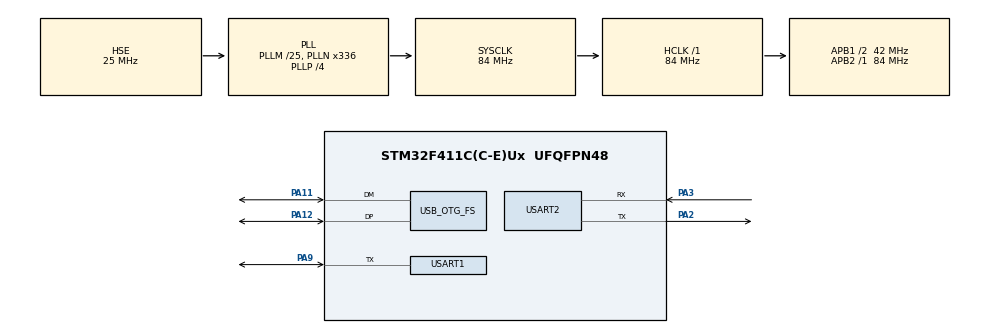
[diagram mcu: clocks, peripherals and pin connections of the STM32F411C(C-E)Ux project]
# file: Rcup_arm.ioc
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Mcu.Family=STM32F4
Mcu.Name=STM32F411C(C-E)Ux
Mcu.Package=UFQFPN48
NVIC.OTG_FS_IRQn=true\:0\:0\:false\:false\:true\:false\:true\:true
NVIC.PriorityGroup=NVIC_PRIORITYGROUP_4
NVIC.USART1_IRQn=true\:0\:0\:false\:false\:true\:true\:true\:true
PA11.Mode=Device_Only
PA11.Signal=USB_OTG_FS_DM
PA12.Mode=Device_Only
PA12.Signal=USB_OTG_FS_DP
PA13.Mode=Trace_Asynchronous_SW
PA13.Signal=SYS_JTMS-SWDIO
PA14.Mode=Trace_Asynchronous_SW
PA14.Signal=SYS_JTCK-SWCLK
PA2.GPIO_Speed=GPIO_SPEED_FREQ_HIGH
PA2.Mode=Asynchronous
PA2.Signal=USART2_TX
PA3.GPIO_Speed=GPIO_SPEED_FREQ_HIGH
PA3.Mode=Asynchronous
PA3.Signal=USART2_RX
PA9.GPIO_ModeDefaultOD=GPIO_MODE_AF_PP
PA9.GPIO_Speed=GPIO_SPEED_FREQ_HIGH
PA9.Mode=Half_duplex(single_wire_mode)
PA9.Signal=USART1_TX
PB3.Mode=Trace_Asynchronous_SW
PB3.Signal=SYS_JTDO-SWO
PH0\ -\ OSC_IN.Mode=HSE-External-Oscillator
PH0\ -\ OSC_IN.Signal=RCC_OSC_IN
PH1\ -\ OSC_OUT.Mode=HSE-External-Oscillator
PH1\ -\ OSC_OUT.Signal=RCC_OSC_OUT
ProjectManager.HeapSize=0x200
ProjectManager.StackSize=0x400
ProjectManager.TargetToolchain=STM32CubeIDE
RCC.48MHZClocksFreq_Value=48000000
RCC.AHBFreq_Value=84000000
RCC.APB1CLKDivider=RCC_HCLK_DIV2
RCC.APB1Freq_Value=42000000
RCC.APB1TimFreq_Value=84000000
RCC.APB2Freq_Value=84000000
RCC.APB2TimFreq_Value=84000000
RCC.CortexFreq_Value=84000000
RCC.HCLKFreq_Value=84000000
RCC.HSE_VALUE=25000000
RCC.HSI_VALUE=16000000
RCC.LSE_VALUE=32768
RCC.PLLM=25
RCC.PLLN=336
RCC.PLLP=RCC_PLLP_DIV4
RCC.PLLQ=7
RCC.SYSCLKFreq_VALUE=84000000
RCC.SYSCLKSource=RCC_SYSCLKSOURCE_PLLCLK
RCC.VCOOutputFreq_Value=336000000
USART1.BaudRate=1000000
USART1.VirtualMode=VM_ASYNC
USART2.VirtualMode=VM_ASYNC
USB_DEVICE.CLASS_NAME_FS=CDC
USB_DEVICE.VirtualMode=Cdc
USB_DEVICE.VirtualModeFS=Cdc_FS
USB_OTG_FS.VirtualMode=Device_Only
VP_USB_DEVICE_VS_USB_DEVICE_CDC_FS.Mode=CDC_FS
board=custom

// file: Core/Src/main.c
/* USER CODE BEGIN Header */
/**
  ******************************************************************************
  * @file           : main.c
  * @brief          : Main program body
  ******************************************************************************
  * @attention
  *
  * Copyright (c) 2025 STMicroelectronics.
  * All rights reserved.
  *
  * This software is licensed under terms that can be found in the LICENSE file
  * in the root directory of this software component.
  * If no LICENSE file comes with this software, it is provided AS-IS.
  *
  ******************************************************************************
  */
/* USER CODE END Header */
#include "main.h"
#include "usb_device.h"

/* USER CODE BEGIN Includes */
#include "usbd_cdc_if.h"
#include "AxelFlow.h"
#include "AxelFlow_Debug.h"
#include "AxelFlow_Serial.h"
#include "cJSON.h"
#include "string.h"
/* USER CODE END Includes */

/* USER CODE BEGIN PTD */
int _write(int file, char *ptr, int len) {
	int DataIdx;
	for (DataIdx = 0; DataIdx < len; DataIdx++) {
		ITM_SendChar(*ptr++);
	}
	return len;
}
// Global arrays for values (similar to dir[] and pwm[] in reference)
int dof[3] = {0, 0, 0};      // Stores DOF values (dof_4, dof_5, dof_6)
int angles[4] = {0, 0, 0, 0}; // Stores angles (angle_dof_4, angle_dof_5, angle_dof_6, angle_gripper)
int gripper = 0;             // Gripper value
int hold = 0;                // Hold value
char debugMsg[1024];

void Parse_JSON(const char *json_str) {
    cJSON *root = cJSON_Parse(json_str);

    if (!root) {
        char errorMsg[] = "Invalid JSON\n";
        CDC_Transmit_FS((uint8_t*)errorMsg, strlen(errorMsg));
        return;
    }

    // Define JSON keys
    const char *dof_keys[] = {"dof_4", "dof_5", "dof_6"};
    const char *angle_keys[] = {"angle_dof_4", "angle_dof_5", "angle_dof_6", "angle_gripper"};

    // Extract DOF values
    for (int i = 0; i < 3; i++) {
        cJSON *item = cJSON_GetObjectItem(root, dof_keys[i]);
        if (cJSON_IsNumber(item)) {
            dof[i] = item->valueint;
        }
    }

    // Extract Angle values
    for (int i = 0; i < 4; i++) {
        cJSON *item = cJSON_GetObjectItem(root, angle_keys[i]);
        if (cJSON_IsNumber(item)) {
            angles[i] = item->valueint;
        }
    }

    // Extract Gripper value
    cJSON *gripper_item = cJSON_GetObjectItem(root, "gripper");
    if (cJSON_IsNumber(gripper_item)) {
        gripper = gripper_item->valueint;
    }

    // Extract Hold value
    cJSON *hold_item = cJSON_GetObjectItem(root, "hold");
    if (cJSON_IsNumber(hold_item)) {
        hold = hold_item->valueint;
    }

    cJSON_Delete(root);

    char response[512];
    snprintf(response, sizeof(response),
        "DOFs: %d, %d, %d, %d angle : %d, %d, %d, %d\n",
        dof[0], dof[1], dof[2], angles[0],
        angles[1], angles[2], angles[3], gripper);
    CDC_Transmit_FS((uint8_t*)response, strlen(response));
}

/* USER CODE END PTD */

UART_HandleTypeDef huart1;
UART_HandleTypeDef huart2;

/* USER CODE BEGIN PV */
char USB_RX_Buffer[1024];
/* USER CODE END PV */

void SystemClock_Config(void);
static void MX_GPIO_Init(void);
static void MX_USART1_UART_Init(void);
static void MX_USART2_UART_Init(void);

int main(void)
{

  /* USER CODE BEGIN 1 */
	AxelFlow_debug_init(&huart2);
	UART_HandleTypeDef servo1_UART_Handle = AxelFlow_UART_Init(USART1,1000000); // Make sure that interrupt is selected.
	Servo servo1 = AxelFlow_servo_init(0x04, &servo1_UART_Handle, false);
	Servo servo2 = AxelFlow_servo_init(0x03, &servo1_UART_Handle, false);
	Servo servo3 = AxelFlow_servo_init(0x01, &servo1_UART_Handle, false);
	Servo servo4 = AxelFlow_servo_init(0x05, &servo1_UART_Handle, false);
	Servo servo5 = AxelFlow_servo_init(0x02, &servo1_UART_Handle, true);
	Servo servo6 = AxelFlow_servo_init(0x09, &servo1_UART_Handle, false);
	Servo servo7 = AxelFlow_servo_init(0x08, &servo1_UART_Handle, false);
	Status_Packet set_status;
	//	setSpeedinRPM(50, servo5);
	//	changeServoID(2, servo3);
	//	Status_Packet set_status=setMaxTorque(100, servo5);
	//	Status_Packet set_status = setCCWLimit(220, servo5);
	//	print_status(set_status, 1);
	//	HAL_Delay(2000);
	//	set_status = setCWLimit(10, servo5);
	//	print_status(set_status, 0);
	//	setWheelMode(servo1);
//	 changeBaudRate(1000000, servo3);

  /* USER CODE END 1 */

  /* MCU Configuration--------------------------------------------------------*/

  /* Reset of all peripherals, Initializes the Flash interface and the Systick. */
  HAL_Init();

  /* Configure the system clock */
  SystemClock_Config();

  /* Initialize all configured peripherals */
  MX_GPIO_Init();
  MX_USART1_UART_Init();
  MX_USART2_UART_Init();
  MX_USB_DEVICE_Init();

  /* Infinite loop */
  /* USER CODE BEGIN WHILE */
  while (1)
  {
		printf("Hello");
		char ch[40];
		int x;
		SyncWrite_Packet write_packet;
		Parse_JSON(USB_RX_Buffer);
		HAL_Delay(1);
		snprintf(debugMsg, sizeof(debugMsg), "Received JSON: %s\n", USB_RX_Buffer);
		CDC_Transmit_FS((uint8_t*)debugMsg, strlen(debugMsg));

		setSpeed(20, servo4);
		HAL_Delay(2000);
//		int Servo[2]= {servo7.id,3};
//		int pos[2]={100,0};
//		int speed[2]={20,200};
//		write_packet.ID= Servo;
//		write_packet.pos=pos;
//		write_packet.speed=speed;
//		Sync_write( write_packet,USART1);
//        confirm_set(120, servo6);
		setPosition(120, servo4);
//		setSpeed(20, servo6);
		HAL_Delay(1000);
//        confirm_set(180, servo6);
//        move_arm(servo4,angles[0], servo6,angles[1], servo2, angles[2], servo1,angles[3], 0 ); //FOR ARM
        //move_arm(servo4,angles[0], servo6,angles[1], servo3, angles[2], servo1,angles[3], 0 ); //FOR TESTING
		setPosition(180, servo4);
//		setSpeed(50, servo3);
		HAL_Delay(2000);
		//		status = setPunch(30.0, s'ervo1);
		//		print_status(status, 0);
		//		HAL_Delay(100);
		//		char ch[40];
		//		sprintf(ch, "%f\n\r", getPresentLoad(servo1));
		//		AxelFlow_debug_println(ch);
		//		setPosition(60, servo2);
//				set_status = setPosition(100, servo2);
		//		print_status(set_status, 0);
		//
//				HAL_Delay(2000);
//                setPosition(80, servo6);
		//		print_status(set_status, 1);
//				setPosition(180, servo3);
//		        HAL_Delay(4000);
//        move_arm(servo4,120, servo6,100, servo2, 30, servo1,180, 1 );
		//		setPosition(0, servo3);
		//		set_status = setPosition(90, servo6);
		//		x = getPositionAngle(servo1);
		//		sprintf(ch, "%f\n\r", x);
		//		AxelFlow_debug_println(ch);
		//		print_status(set_status, 0);
//				HAL_Delay(2000);
//				x =scanID(servo3);
		//	    x = getPositionAngle(servo5);
//				sprintf(ch, "%f\n\r", x);
//				AxelFlow_debug_println(ch);
		//	    sprintf(ch, "%f\n\r", x);
		//	    AxelFlow_debug_println(ch);
		//		grip(130, servo1);
		//		setPosition(130, servo6);
		//		x = getPositionAngle(servo1);
		//		sprintf(ch, "%f\n\r", x);
		//		AxelFlow_debug_println(ch);
//				setSpeed(20, servo4);
//				HAL_Delay(2000);
//			    setPosition(300, servo4);
//			    HAL_Delay(2000);
//		        confirm_set(10, servo2);
//		        HAL_Delay(2000);
//		        confirm_set(40, servo2);
//		        HAL_Delay(2000);
//				setPosition(0, servo4);
//			    setPosition(180, servo6);
		//		print_status(set_status, 0);
//				HAL_Delay(4000);
//				set_status = setPosition(120, servo2);
//				HAL_Delay(2000);
		//		print_status(set_status, 0);
		//		HAL_Delay(2000);
		//		setSpeed(10, servo2);
//				grip(137, servo1);

//				HAL_Delay(2000);
		//		setSpeed(30, servo5);
//			    x = getPositionAngle(servo6);
//				char ch1[20] = "hello";
//				sprintf(ch, "%u\n", x);
//				HAL_UART_Transmit(&huart2, ch, strlen(ch),HAL_MAX_DELAY);
//				AxelFlow_debug_println(ch1);
//				HAL_Delay(4000);
    /* USER CODE END WHILE */

  }
}

void SystemClock_Config(void)
{
  RCC_OscInitTypeDef RCC_OscInitStruct = {0};
  RCC_ClkInitTypeDef RCC_ClkInitStruct = {0};

  /** Configure the main internal regulator output voltage
  */
  __HAL_RCC_PWR_CLK_ENABLE();
  __HAL_PWR_VOLTAGESCALING_CONFIG(PWR_REGULATOR_VOLTAGE_SCALE1);

  /** Initializes the RCC Oscillators according to the specified parameters
  * in the RCC_OscInitTypeDef structure.
  */
  RCC_OscInitStruct.OscillatorType = RCC_OSCILLATORTYPE_HSE;
  RCC_OscInitStruct.HSEState = RCC_HSE_ON;
  RCC_OscInitStruct.PLL.PLLState = RCC_PLL_ON;
  RCC_OscInitStruct.PLL.PLLSource = RCC_PLLSOURCE_HSE;
  RCC_OscInitStruct.PLL.PLLM = 25;
  RCC_OscInitStruct.PLL.PLLN = 336;
  RCC_OscInitStruct.PLL.PLLP = RCC_PLLP_DIV4;
  RCC_OscInitStruct.PLL.PLLQ = 7;
  if (HAL_RCC_OscConfig(&RCC_OscInitStruct) != HAL_OK)
  {
    Error_Handler();
  }

  /** Initializes the CPU, AHB and APB buses clocks
  */
  RCC_ClkInitStruct.ClockType = RCC_CLOCKTYPE_HCLK|RCC_CLOCKTYPE_SYSCLK
                              |RCC_CLOCKTYPE_PCLK1|RCC_CLOCKTYPE_PCLK2;
  RCC_ClkInitStruct.SYSCLKSource = RCC_SYSCLKSOURCE_PLLCLK;
  RCC_ClkInitStruct.AHBCLKDivider = RCC_SYSCLK_DIV1;
  RCC_ClkInitStruct.APB1CLKDivider = RCC_HCLK_DIV2;
  RCC_ClkInitStruct.APB2CLKDivider = RCC_HCLK_DIV1;

  if (HAL_RCC_ClockConfig(&RCC_ClkInitStruct, FLASH_LATENCY_2) != HAL_OK)
  {
    Error_Handler();
  }
}

static void MX_USART1_UART_Init(void)
{

  huart1.Instance = USART1;
  huart1.Init.BaudRate = 1000000;
  huart1.Init.WordLength = UART_WORDLENGTH_8B;
  huart1.Init.StopBits = UART_STOPBITS_1;
  huart1.Init.Parity = UART_PARITY_NONE;
  huart1.Init.Mode = UART_MODE_TX_RX;
  huart1.Init.HwFlowCtl = UART_HWCONTROL_NONE;
  huart1.Init.OverSampling = UART_OVERSAMPLING_16;
  if (HAL_HalfDuplex_Init(&huart1) != HAL_OK)
  {
    Error_Handler();
  }

}

static void MX_USART2_UART_Init(void)
{

  huart2.Instance = USART2;
  huart2.Init.BaudRate = 115200;
  huart2.Init.WordLength = UART_WORDLENGTH_8B;
  huart2.Init.StopBits = UART_STOPBITS_1;
  huart2.Init.Parity = UART_PARITY_NONE;
  huart2.Init.Mode = UART_MODE_TX_RX;
  huart2.Init.HwFlowCtl = UART_HWCONTROL_NONE;
  huart2.Init.OverSampling = UART_OVERSAMPLING_16;
  if (HAL_UART_Init(&huart2) != HAL_OK)
  {
    Error_Handler();
  }

}

static void MX_GPIO_Init(void)
{

  /* GPIO Ports Clock Enable */
  __HAL_RCC_GPIOH_CLK_ENABLE();
  __HAL_RCC_GPIOA_CLK_ENABLE();
  __HAL_RCC_GPIOB_CLK_ENABLE();

}

void Error_Handler(void)
{
  __disable_irq();
  while (1)
  {
  }
}
